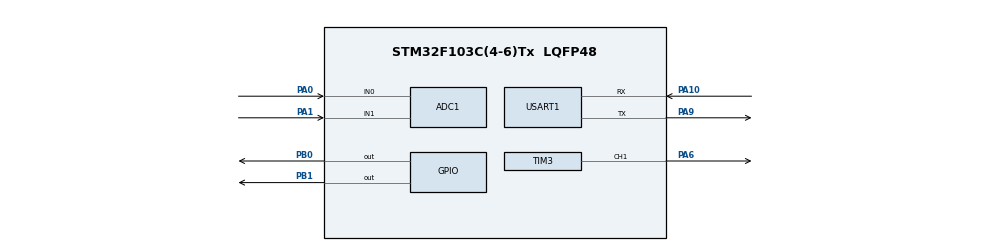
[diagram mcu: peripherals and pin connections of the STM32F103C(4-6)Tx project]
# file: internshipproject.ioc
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ADC1.Channel-0\#ChannelRegularConversion=ADC_CHANNEL_1
ADC1.ContinuousConvMode=DISABLE
ADC1.NbrOfConversion=1
ADC1.NbrOfConversionFlag=1
ADC1.Rank-0\#ChannelRegularConversion=1
ADC1.SamplingTime-0\#ChannelRegularConversion=ADC_SAMPLETIME_55CYCLES_5
ADC1.master=1
Mcu.Family=STM32F1
Mcu.Name=STM32F103C(4-6)Tx
Mcu.Package=LQFP48
NVIC.PriorityGroup=NVIC_PRIORITYGROUP_4
PA0-WKUP.Signal=ADCx_IN0
PA1.Signal=ADCx_IN1
PA10.Mode=Asynchronous
PA10.Signal=USART1_RX
PA6.Signal=S_TIM3_CH1
PA9.Mode=Asynchronous
PA9.Signal=USART1_TX
PB0.GPIO_Speed=GPIO_SPEED_FREQ_HIGH
PB0.Signal=GPIO_Output
PB1.Signal=GPIO_Output
ProjectManager.HeapSize=0x200
ProjectManager.StackSize=0x400
ProjectManager.TargetToolchain=STM32CubeIDE
RCC.APB1Freq_Value=8000000
RCC.APB2Freq_Value=8000000
SH.ADCx_IN0.0=ADC1_IN0,IN0
SH.ADCx_IN1.0=ADC1_IN1,IN1
SH.S_TIM3_CH1.0=TIM3_CH1,PWM Generation1 CH1
TIM3.Channel-PWM\ Generation1\ CH1=TIM_CHANNEL_1
TIM3.Period=999
TIM3.Prescaler=71
USART1.VirtualMode=VM_ASYNC
VP_SYS_VS_ND.Mode=No_Debug
board=custom

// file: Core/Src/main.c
/* USER CODE BEGIN Header */
/**
  ******************************************************************************
  * @file           : main.c
  * @brief          : Main program body
  ******************************************************************************
  * @attention
  *
  * Copyright (c) 2026 STMicroelectronics.
  * All rights reserved.
  *
  * This software is licensed under terms that can be found in the LICENSE file
  * in the root directory of this software component.
  * If no LICENSE file comes with this software, it is provided AS-IS.
  *
  ******************************************************************************
  */
/* USER CODE END Header */
#include "main.h"

/* USER CODE BEGIN Includes */
#include <math.h>
#include <stdio.h>
#include <string.h>
/* USER CODE END Includes */

ADC_HandleTypeDef hadc1;

TIM_HandleTypeDef htim3;

UART_HandleTypeDef huart1;

/* USER CODE BEGIN PV */
/* USER CODE BEGIN PV */

#define DT              0.1f

#define MAX_SPEED       60.0f
#define DT              0.1f
#define MAX_SPEED       60.0f
//#define SPEED_RESPONSE  0.25f
#define PWM_GAIN        2.0f

uint32_t adc_desired = 0;

float desired_angle = 0.0f;
uint32_t adc_actual = 0;
float actual_angle = 30.0f;
float error = 0.0f;

float pwm_duty = 0.0f;
float motor_speed = 0.0f;

char uart_buffer[120];

/* USER CODE END PV */

void SystemClock_Config(void);
static void MX_GPIO_Init(void);
static void MX_ADC1_Init(void);
static void MX_USART1_UART_Init(void);
static void MX_TIM3_Init(void);

int main(void)
{

  /* MCU Configuration--------------------------------------------------------*/

  /* Reset of all peripherals, Initializes the Flash interface and the Systick. */
  HAL_Init();

  /* Configure the system clock */
  SystemClock_Config();

  /* Initialize all configured peripherals */
  MX_GPIO_Init();
  MX_ADC1_Init();
  MX_USART1_UART_Init();
  MX_TIM3_Init();
  /* USER CODE BEGIN 2 */
  HAL_GPIO_WritePin(GPIOB, GPIO_PIN_0 | GPIO_PIN_1, GPIO_PIN_RESET);

  HAL_TIM_PWM_Start(&htim3, TIM_CHANNEL_1);

  HAL_ADCEx_Calibration_Start(&hadc1);
  /* USER CODE BEGIN 2 */

  /* USER CODE END 2 */

  /* Infinite loop */
  /* USER CODE BEGIN WHILE */
  while (1)
  {
      ADC_ChannelConfTypeDef sConfig = {0};

      /* =========================================
         READ DESIRED ANGLE - RV2 / PA1
         ========================================= */

      sConfig.Channel = ADC_CHANNEL_1;
      sConfig.Rank = ADC_REGULAR_RANK_1;
      sConfig.SamplingTime = ADC_SAMPLETIME_55CYCLES_5;

      HAL_ADC_ConfigChannel(&hadc1, &sConfig);

      HAL_Delay(1);

      HAL_ADC_Start(&hadc1);
      HAL_ADC_PollForConversion(&hadc1, 100);

      adc_desired = HAL_ADC_GetValue(&hadc1);

      HAL_ADC_Stop(&hadc1);

      desired_angle = (adc_desired * 120.0f) / 4095.0f;

      /* =========================================
         CALCULATE POSITION ERROR
         ========================================= */

      error = (float)desired_angle - actual_angle;

      /* =========================================
         PWM CONTROL
         ========================================= */

      pwm_duty = fabsf(error) * PWM_GAIN;

      if (pwm_duty > 100.0f)
      {
          pwm_duty = 100.0f;
      }

      /* =========================================
         MOTOR DIRECTION
         ========================================= */

      if (error > 0.5f)
      {
          HAL_GPIO_WritePin(GPIOB,
                            GPIO_PIN_0,
                            GPIO_PIN_SET);

          HAL_GPIO_WritePin(GPIOB,
                            GPIO_PIN_1,
                            GPIO_PIN_RESET);
      }
      else if (error < -0.5f)
      {
          HAL_GPIO_WritePin(GPIOB,
                            GPIO_PIN_0,
                            GPIO_PIN_RESET);

          HAL_GPIO_WritePin(GPIOB,
                            GPIO_PIN_1,
                            GPIO_PIN_SET);
      }
      else
      {
          HAL_GPIO_WritePin(GPIOB,
                            GPIO_PIN_0,
                            GPIO_PIN_RESET);

          HAL_GPIO_WritePin(GPIOB,
                            GPIO_PIN_1,
                            GPIO_PIN_RESET);

          pwm_duty = 0.0f;
          motor_speed = 0.0f;
      }

      /* =========================================
         APPLY PWM
         ========================================= */

      __HAL_TIM_SET_COMPARE(&htim3,
                            TIM_CHANNEL_1,
                            (uint32_t)((pwm_duty * 999.0f) / 100.0f));

      /* =========================================
         MOTOR / KNEE PLANT MODEL
         ========================================= */

      /* Convert PWM to motor torque */
      if (error > 0.5f)
      {
          motor_speed = pwm_duty * 0.5f;
      }
      else if (error < -0.5f)
      {
          motor_speed = -pwm_duty * 0.5f;
      }
      else
      {
          motor_speed = 0.0f;
      }

      /* Update knee angle */
      actual_angle += motor_speed * DT;

      /* =========================================
         KNEE MECHANICAL LIMITS
         ========================================= */

      if (actual_angle > 120.0f)
      {
          actual_angle = 120.0f;
          motor_speed = 0.0f;
      }

      if (actual_angle < 0.0f)
      {
          actual_angle = 0.0f;
          motor_speed = 0.0f;
      }

      /* =========================================
         UART MONITOR
         ========================================= */

      sprintf(uart_buffer,
              "Desired: %.2f deg | Actual: %.2f deg | Error: %.2f deg | PWM: %.1f%% | Speed: %.2f\r\n",
              desired_angle,
              actual_angle,
              error,
              pwm_duty,
              motor_speed);

      HAL_UART_Transmit(&huart1,
                        (uint8_t *)uart_buffer,
                        strlen(uart_buffer),
                        100);

      /* =========================================
         CONTROL LOOP
         ========================================= */

      HAL_Delay(100);
  }
  /* USER CODE END 3 */
}

void SystemClock_Config(void)
{
  RCC_OscInitTypeDef RCC_OscInitStruct = {0};
  RCC_ClkInitTypeDef RCC_ClkInitStruct = {0};
  RCC_PeriphCLKInitTypeDef PeriphClkInit = {0};

  /** Initializes the RCC Oscillators according to the specified parameters
  * in the RCC_OscInitTypeDef structure.
  */
  RCC_OscInitStruct.OscillatorType = RCC_OSCILLATORTYPE_HSI;
  RCC_OscInitStruct.HSIState = RCC_HSI_ON;
  RCC_OscInitStruct.HSICalibrationValue = RCC_HSICALIBRATION_DEFAULT;
  RCC_OscInitStruct.PLL.PLLState = RCC_PLL_NONE;
  if (HAL_RCC_OscConfig(&RCC_OscInitStruct) != HAL_OK)
  {
    Error_Handler();
  }

  /** Initializes the CPU, AHB and APB buses clocks
  */
  RCC_ClkInitStruct.ClockType = RCC_CLOCKTYPE_HCLK|RCC_CLOCKTYPE_SYSCLK
                              |RCC_CLOCKTYPE_PCLK1|RCC_CLOCKTYPE_PCLK2;
  RCC_ClkInitStruct.SYSCLKSource = RCC_SYSCLKSOURCE_HSI;
  RCC_ClkInitStruct.AHBCLKDivider = RCC_SYSCLK_DIV1;
  RCC_ClkInitStruct.APB1CLKDivider = RCC_HCLK_DIV1;
  RCC_ClkInitStruct.APB2CLKDivider = RCC_HCLK_DIV1;

  if (HAL_RCC_ClockConfig(&RCC_ClkInitStruct, FLASH_LATENCY_0) != HAL_OK)
  {
    Error_Handler();
  }
  PeriphClkInit.PeriphClockSelection = RCC_PERIPHCLK_ADC;
  PeriphClkInit.AdcClockSelection = RCC_ADCPCLK2_DIV2;
  if (HAL_RCCEx_PeriphCLKConfig(&PeriphClkInit) != HAL_OK)
  {
    Error_Handler();
  }
}

static void MX_ADC1_Init(void)
{

  ADC_ChannelConfTypeDef sConfig = {0};

  /** Common config
  */
  hadc1.Instance = ADC1;
  hadc1.Init.ScanConvMode = ADC_SCAN_DISABLE;
  hadc1.Init.ContinuousConvMode = DISABLE;
  hadc1.Init.DiscontinuousConvMode = DISABLE;
  hadc1.Init.ExternalTrigConv = ADC_SOFTWARE_START;
  hadc1.Init.DataAlign = ADC_DATAALIGN_RIGHT;
  hadc1.Init.NbrOfConversion = 1;
  if (HAL_ADC_Init(&hadc1) != HAL_OK)
  {
    Error_Handler();
  }

  /** Configure Regular Channel
  */
  sConfig.Channel = ADC_CHANNEL_0;
  sConfig.Rank = ADC_REGULAR_RANK_1;
  sConfig.SamplingTime = ADC_SAMPLETIME_55CYCLES_5;
  if (HAL_ADC_ConfigChannel(&hadc1, &sConfig) != HAL_OK)
  {
    Error_Handler();
  }

}

static void MX_TIM3_Init(void)
{

  TIM_MasterConfigTypeDef sMasterConfig = {0};
  TIM_OC_InitTypeDef sConfigOC = {0};

  htim3.Instance = TIM3;
  htim3.Init.Prescaler = 72;
  htim3.Init.CounterMode = TIM_COUNTERMODE_UP;
  htim3.Init.Period = 999;
  htim3.Init.ClockDivision = TIM_CLOCKDIVISION_DIV1;
  htim3.Init.AutoReloadPreload = TIM_AUTORELOAD_PRELOAD_DISABLE;
  if (HAL_TIM_PWM_Init(&htim3) != HAL_OK)
  {
    Error_Handler();
  }
  sMasterConfig.MasterOutputTrigger = TIM_TRGO_RESET;
  sMasterConfig.MasterSlaveMode = TIM_MASTERSLAVEMODE_DISABLE;
  if (HAL_TIMEx_MasterConfigSynchronization(&htim3, &sMasterConfig) != HAL_OK)
  {
    Error_Handler();
  }
  sConfigOC.OCMode = TIM_OCMODE_PWM1;
  sConfigOC.Pulse = 0;
  sConfigOC.OCPolarity = TIM_OCPOLARITY_HIGH;
  sConfigOC.OCFastMode = TIM_OCFAST_DISABLE;
  if (HAL_TIM_PWM_ConfigChannel(&htim3, &sConfigOC, TIM_CHANNEL_1) != HAL_OK)
  {
    Error_Handler();
  }
  HAL_TIM_MspPostInit(&htim3);

}

static void MX_USART1_UART_Init(void)
{

  huart1.Instance = USART1;
  huart1.Init.BaudRate = 115200;
  huart1.Init.WordLength = UART_WORDLENGTH_8B;
  huart1.Init.StopBits = UART_STOPBITS_1;
  huart1.Init.Parity = UART_PARITY_NONE;
  huart1.Init.Mode = UART_MODE_TX_RX;
  huart1.Init.HwFlowCtl = UART_HWCONTROL_NONE;
  huart1.Init.OverSampling = UART_OVERSAMPLING_16;
  if (HAL_UART_Init(&huart1) != HAL_OK)
  {
    Error_Handler();
  }

}

static void MX_GPIO_Init(void)
{
  GPIO_InitTypeDef GPIO_InitStruct = {0};

  /* GPIO Ports Clock Enable */
  __HAL_RCC_GPIOA_CLK_ENABLE();
  __HAL_RCC_GPIOB_CLK_ENABLE();

  /*Configure GPIO pin Output Level */
  HAL_GPIO_WritePin(GPIOB, GPIO_PIN_0|GPIO_PIN_1, GPIO_PIN_RESET);

  /*Configure GPIO pins : PB0 PB1 */
  GPIO_InitStruct.Pin = GPIO_PIN_0|GPIO_PIN_1;
  GPIO_InitStruct.Mode = GPIO_MODE_OUTPUT_PP;
  GPIO_InitStruct.Pull = GPIO_NOPULL;
  GPIO_InitStruct.Speed = GPIO_SPEED_FREQ_LOW;
  HAL_GPIO_Init(GPIOB, &GPIO_InitStruct);

}

void Error_Handler(void)
{
  __disable_irq();
  while (1)
  {
  }
}
